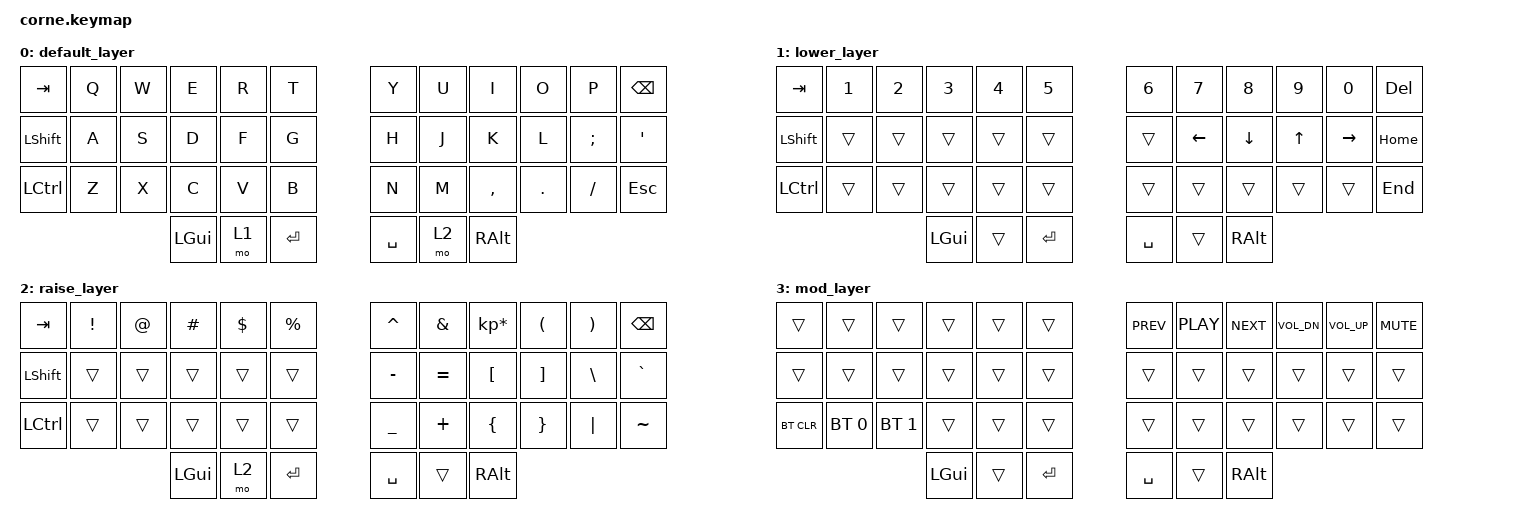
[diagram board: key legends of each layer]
/*
 * Copyright (c) 2020 The ZMK Contributors
 *
 * SPDX-License-Identifier: MIT
 */

#include <behaviors.dtsi>
#include <dt-bindings/zmk/keys.h>
#include <dt-bindings/zmk/bt.h>

/ {
        conditional_layers {
                compatible = "zmk,conditional-layers";
                tri_layer {
                        if-layers = <1 2>;
                        then-layer = <3>;
                };
        };
        keymap {
                compatible = "zmk,keymap";

                default_layer {
// -----------------------------------------------------------------------------------------
// |  TAB |  Q  |  W  |  E  |  R  |  T  |   |  Y  |  U   |  I  |  O  |  P  | BKSP |
// | SHFT |  A  |  S  |  D  |  F  |  G  |   |  H  |  J   |  K  |  L  |  ;  |  '   |
// | CTRL |  Z  |  X  |  C  |  V  |  B  |   |  N  |  M   |  ,  |  .  |  /  | ESC  |
//                    | GUI | LWR | ENT |   | SPC | RSE  | ALT |
                        bindings = <
   &kp TAB   &kp Q &kp W &kp E &kp R &kp T   &kp Y &kp U  &kp I     &kp O   &kp P    &kp BSPC
   &kp LSHFT &kp A &kp S &kp D &kp F &kp G   &kp H &kp J  &kp K     &kp L   &kp SEMI &kp SQT
   &kp LCTRL &kp Z &kp X &kp C &kp V &kp B   &kp N &kp M  &kp COMMA &kp DOT &kp FSLH &kp ESC
                  &kp LGUI &mo 1 &kp RET     &kp SPACE &mo 2 &kp RALT
                        >;
                };
                lower_layer {
// -----------------------------------------------------------------------------------------
// |  TAB |  1  |  2  |  3  |  4  |  5  |   |  6  |  7  |  8  |  9  |  0  | DEL |
// | SHFT |     |     |     |     |     |   |     |LEFT |DOWN | UP  |RIGHT|HOME |
// | CTRL |     |     |     |     |     |   |     |     |     |     |     | END |
//                    | GUI |     | ENT |   | SPC |     | ALT |
                        bindings = <
   &kp TAB    &kp N1  &kp N2  &kp N3    &kp N4  &kp N5     &kp N6     &kp N7   &kp N8    &kp N9  &kp N0    &kp DEL
   &kp LSHFT  &trans  &trans  &trans    &trans  &trans     &trans     &kp LEFT &kp DOWN  &kp UP  &kp RIGHT &kp HOME
   &kp LCTRL  &trans  &trans  &trans    &trans  &trans     &trans     &trans   &trans    &trans  &trans    &kp END
                              &kp LGUI  &trans  &kp RET    &kp SPACE  &trans   &kp RALT
                        >;
                };

                raise_layer {
// -----------------------------------------------------------------------------------------
// |  TAB |  !  |  @  |  #  |  $  |  %  |   |  ^  |  &  |  *  |  (  |  )  | BKSP |
// | SHFT |     |     |     |     |     |   |  -  |  =  |  [  |  ]  |  \  |  `   |
// | CTRL |     |     |     |     |     |   |  _  |  +  |  {  |  }  | "|" |  ~   |
//                    | GUI | LWR | ENT |   | SPC |TRNS | ALT |
                        bindings = <
   &kp  TAB  &kp EXCL   &kp AT       &kp HASH &kp DLLR &kp PRCNT   &kp CARET &kp AMPS  &kp KP_MULTIPLY &kp LPAR &kp RPAR &kp BSPC
   &kp LSHFT &trans     &trans       &trans   &trans   &trans      &kp MINUS &kp EQUAL &kp LBKT        &kp RBKT &kp BSLH &kp GRAVE
   &kp LCTRL &trans     &trans       &trans   &trans   &trans      &kp UNDER &kp PLUS  &kp LBRC        &kp RBRC &kp PIPE &kp TILDE
                                     &kp LGUI &mo 2   &kp RET   &kp SPACE   &trans    &kp RALT
                        >;
                };

                mod_layer {
// -----------------------------------------------------------------------------------------
// |      |     |     |     |     |     |   |prev |play |next |vol- |vol+ |mute  |
// |      |     |     |     |     |     |   |     |     |     |     |     |      |
// |BT_CLR| BT0 | BT1 |     |     |     |   |     |     |     |     |     |      |
//                    | GUI |     | ENT |   | SPC | ALT |     |
                        bindings = <
   &trans      &trans        &trans         &trans    &trans   &trans       &kp C_PREV  &kp C_PLAY  &kp C_NEXT  &kp C_VOL_DN  &kp C_VOL_UP  &kp C_MUTE
   &trans      &trans        &trans         &trans    &trans   &trans       &trans      &trans      &trans      &trans        &trans        &trans
   &bt BT_CLR  &bt BT_SEL 0  &bt BT_SEL 1   &trans    &trans   &trans       &trans      &trans      &trans      &trans        &trans        &trans
                                            &kp LGUI  &trans   &kp RET      &kp SPACE   &trans      &kp RALT
                        >;
                };
        };

                
};
